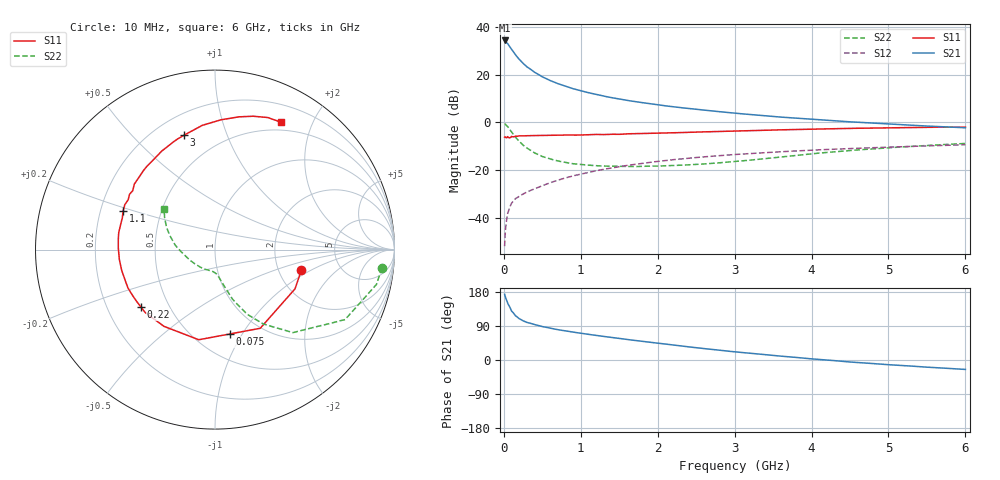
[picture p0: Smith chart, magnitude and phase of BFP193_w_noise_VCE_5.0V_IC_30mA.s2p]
! Infineon Technologies  Discrete & RF Semiconductors
! BFP193
! VCE = 5.0 V,  IC =  30 mA
! Common Emitter S-Parameters:  Jan 2016
# GHz  S  MA  R  50
!  f  S11  S21  S12  S22
! GHz  MAG  ANG  MAG  ANG  MAG  ANG  MAG  ANG
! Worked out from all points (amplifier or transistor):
!   210 points, 10 MHz to 6 GHz, reference 50 ohm
!   highest |S21| = 34.3 dB at 10 MHz (marker M1)
!   |S21| within 3 dB of that: start of sweep to 84.73 MHz
!   unconditionally stable (mu >= 1): 695.2 MHz to 3.877 GHz
!   at 185 MHz: K = 0.57, MSG = 29.0 dB, |S12| = -31.1 dB
!   at 1.52 GHz: K = 1.07, MAG = 12.4 dB, |S12| = -18.4 dB
!   at 6 GHz: K = 0.94, MSG = 3.5 dB, |S12| = -9.3 dB
!   lowest NFmin = 1.90 dB at 450 MHz
!   S11 on the Smith chart (normalised r, x): 10 MHz: 2.67, -0.81; 75 MHz: 0.72, -0.88; 220 MHz: 0.35, -0.31; 1.1 GHz: 0.30, +0.18; 3 GHz: 0.32, +0.72; 6 GHz: 0.40, +1.57
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0.01  0.4945 -13.4  51.59 173.3  0.0026 83.0  0.9359 -6.2
0.02  0.4966 -26.1  49.53 165.9  0.0055 80.2  0.9201 -12.2
0.05  0.5057 -60.1  44.17 149.1  0.0125 68.5  0.8228 -28.3
0.075  0.4772 -80.2  38.46 140.6  0.0164 62.2  0.7193 -36.3
0.1  0.5103 -100.2  33.88 129.4  0.0205 58.3  0.6345 -46.8
0.15  0.5135 -123.6  25.93 116.9  0.0255 53.6  0.4941 -57.0
0.2  0.5237 -138.1  20.81 109.0  0.0288 52.9  0.4016 -63.6
0.22  0.5221 -142.2  19.3 107.0  0.03 52.9  0.3744 -65.0
0.26  0.5251 -150.0  16.57 102.6  0.0326 53.2  0.3255 -68.1
0.3  0.5301 -156.2  14.52 99.2  0.0352 54.6  0.2917 -70.6
0.4  0.5325 -167.1  11.15 93.2  0.041 56.6  0.2305 -74.4
0.5  0.5358 -174.1  8.974 88.2  0.0475 58.4  0.1945 -77.1
0.7  0.542 174.0  6.489 80.0  0.0619 60.3  0.1568 -81.8
1.02  0.5472 160.4  4.496 70.0  0.0847 60.2  0.1313 -88.6
1.1  0.5548 157.4  4.182 67.6  0.0907 59.9  0.1281 -90.9
1.6  0.5788 141.0  2.89 54.2  0.1262 55.6  0.1206 -105.5
2.02  0.5994 129.3  2.309 44.0  0.1546 51.0  0.1227 -120.5
3  0.6604 105.1  1.562 21.4  0.2138 39.1  0.1526 -157.6
3.1  0.6661 103.2  1.512 19.7  0.2187 37.8  0.1574 -161.3
4.1  0.7287 85.8  1.137 1.5  0.268 26.2  0.229 171.6
5.1  0.7762 72.8  0.913 -13.6  0.3082 15.2  0.3022 154.0
6  0.799 62.7  0.774 -24.9  0.3424 5.8  0.3638 141.3
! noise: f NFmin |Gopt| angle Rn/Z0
0.45  1.9  0.4  180  0.09
0.9  1.95  0.43  -173  0.11
1.8  2.4  0.58  -144  0.24
